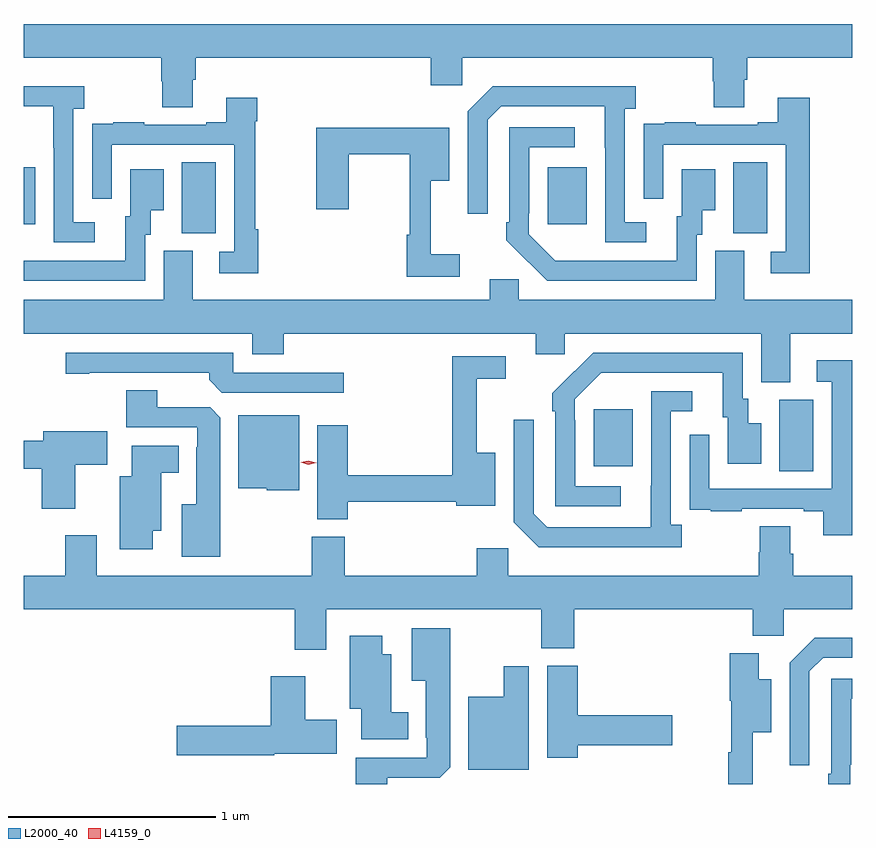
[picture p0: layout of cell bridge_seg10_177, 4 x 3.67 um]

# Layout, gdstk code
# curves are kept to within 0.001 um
import gdstk
lib = gdstk.Library(unit=1e-6, precision=1e-09)
def R(c, l, rs):  # rectangles x0, y0, x1, y1
    for r in rs: c.add(gdstk.rectangle(r[:2], r[2:], *l))
def P(c, l, *ps):  # polygons
    for p in ps: c.add(gdstk.Polygon(p, *l))
L2000_40 = (2000, 40)
L4159_0 = (4159, 0)

bridge_seg10_177 = lib.new_cell('bridge_seg10_177')
R(bridge_seg10_177, L2000_40, [(185.564,1290.328,185.728,1290.672), (184.667,1290.353,184.855,1290.628), (182.678,1291.477,182.842,1291.82), (185.342,1291.477,185.506,1291.82), (181.915,1291.521,181.969,1291.795), (184.445,1291.521,184.633,1291.795)])
P(bridge_seg10_177, L2000_40, [(182.731,1292.218),(182.744,1292.218),(182.744,1292.324),(183.881,1292.324),(183.881,1292.193),(184.032,1292.193),(184.032,1292.324),(185.243,1292.324),(185.243,1292.211),(185.248,1292.211),(185.248,1292.086),(185.395,1292.086),(185.395,1292.218),(185.408,1292.218),(185.408,1292.324),(185.915,1292.324),(185.915,1292.488),(181.915,1292.488),(181.915,1292.324),(182.579,1292.324),(182.579,1292.211),(182.584,1292.211),(182.584,1292.086),(182.731,1292.086)],
  [(182.257,1291.53),(182.154,1291.53),(182.154,1292.078),(182.206,1292.078),(182.206,1292.188),(181.915,1292.188),(181.915,1292.091),(182.057,1292.091),(182.057,1291.891),(182.058,1291.891),(182.058,1291.434),(182.257,1291.434)],
  [(184.921,1291.53),(184.818,1291.53),(184.818,1292.078),(184.87,1292.078),(184.87,1292.188),(184.18,1292.188),(184.059,1292.067),(184.059,1291.572),(184.155,1291.572),(184.155,1292.025),(184.221,1292.091),(184.721,1292.091),(184.722,1291.434),(184.921,1291.434)],
  [(183.047,1291.496),(183.032,1291.496),(183.032,1292.018),(183.041,1292.018),(183.041,1292.131),(182.891,1292.131),(182.891,1292.014),(182.795,1292.014),(182.795,1292.001),(182.495,1292.001),(182.495,1292.014),(182.347,1292.014),(182.347,1292.007),(182.245,1292.007),(182.245,1291.898),(182.244,1291.898),(182.244,1291.644),(182.34,1291.644),(182.34,1291.905),(182.931,1291.905),(182.931,1291.389),(182.859,1291.389),(182.859,1291.284),(183.047,1291.284)],
  [(185.711,1292.131),(185.555,1292.131),(185.555,1292.014),(185.459,1292.014),(185.459,1292.001),(185.159,1292.001),(185.159,1292.014),(185.011,1292.014),(185.011,1292.007),(184.909,1292.007),(184.909,1291.898),(184.908,1291.898),(184.908,1291.644),(185.004,1291.644),(185.004,1291.905),(185.595,1291.905),(185.595,1291.389),(185.523,1291.389),(185.523,1291.284),(185.711,1291.284)],
  [(185.166,1291.47),(185.191,1291.47),(185.191,1291.589),(185.254,1291.589),(185.254,1291.786),(185.093,1291.786),(185.093,1291.56),(185.069,1291.56),(185.069,1291.344),(184.482,1291.345),(184.353,1291.473),(184.353,1291.573),(184.356,1291.573),(184.356,1291.893),(184.576,1291.893),(184.576,1291.989),(184.26,1291.989),(184.26,1291.531),(184.245,1291.531),(184.245,1291.443),(184.442,1291.248),(185.166,1291.248)],
  [(184.021,1291.375),(183.881,1291.375),(183.881,1291.73),(183.97,1291.73),(183.97,1291.987),(183.326,1291.987),(183.326,1291.593),(183.484,1291.593),(183.484,1291.858),(183.778,1291.858),(183.778,1291.469),(183.763,1291.469),(183.763,1291.266),(184.021,1291.266)],
  [(182.502,1291.47),(182.527,1291.47),(182.527,1291.589),(182.59,1291.589),(182.59,1291.786),(182.429,1291.786),(182.429,1291.56),(182.405,1291.56),(182.405,1291.344),(181.921,1291.344),(181.921,1291.345),(181.915,1291.345),(181.915,1291.248),(182.502,1291.248)],
  [(185.617,1290.992),(185.915,1290.992),(185.915,1291.156),(185.395,1291.156),(185.395,1291.392),(185.255,1291.392),(185.255,1291.156),(184.305,1291.156),(184.305,1291.254),(184.166,1291.254),(184.166,1291.156),(182.731,1291.156),(182.731,1291.392),(182.591,1291.392),(182.591,1291.156),(181.915,1291.156),(181.915,1290.992),(183.017,1290.992),(183.017,1290.893),(183.17,1290.893),(183.17,1290.992),(184.388,1290.992),(184.388,1290.894),(184.527,1290.894),(184.527,1290.992),(185.477,1290.992),(185.477,1290.757),(185.617,1290.757)],
  [(184.798,1290.255),(184.578,1290.255),(184.578,1290.575),(184.575,1290.575),(184.575,1290.675),(184.704,1290.804),(185.291,1290.804),(185.291,1290.588),(185.315,1290.588),(185.315,1290.363),(185.476,1290.363),(185.476,1290.559),(185.413,1290.559),(185.413,1290.678),(185.388,1290.678),(185.388,1290.9),(184.664,1290.9),(184.467,1290.705),(184.467,1290.617),(184.482,1290.617),(184.482,1290.159),(184.798,1290.159)],
  [(183.46,1290.804),(182.925,1290.804),(182.925,1290.9),(182.118,1290.9),(182.118,1290.799),(182.23,1290.799),(182.23,1290.804),(182.81,1290.804),(182.81,1290.77),(182.871,1290.708),(183.46,1290.708)],
  [(183.479,1290.18),(184.004,1290.18),(184.004,1290.161),(184.192,1290.161),(184.192,1290.418),(184.103,1290.418),(184.103,1290.774),(184.243,1290.774),(184.243,1290.882),(183.985,1290.882),(183.985,1290.308),(183.479,1290.308),(183.479,1290.55),(183.332,1290.55),(183.332,1290.097),(183.479,1290.097)],
  [(185.915,1290.865),(185.745,1290.865),(185.745,1290.759),(185.817,1290.759),(185.817,1290.243),(185.226,1290.243),(185.226,1290.505),(185.13,1290.505),(185.13,1290.25),(185.131,1290.25),(185.131,1290.141),(185.233,1290.141),(185.233,1290.135),(185.381,1290.135),(185.381,1290.147),(185.681,1290.147),(185.681,1290.135),(185.777,1290.135),(185.777,1290.018),(185.915,1290.018)],
  [(182.863,1290.587),(182.814,1290.636),(182.56,1290.636),(182.56,1290.719),(182.408,1290.719),(182.408,1290.54),(182.751,1290.54),(182.751,1290.443),(182.747,1290.443),(182.747,1290.169),(182.678,1290.169),(182.678,1289.915),(182.863,1289.915)],
  [(185.092,1290.07),(185.04,1290.07),(185.04,1290.618),(185.143,1290.618),(185.143,1290.714),(184.944,1290.714),(184.943,1290.057),(184.443,1290.057),(184.377,1290.123),(184.377,1290.577),(184.281,1290.577),(184.281,1290.081),(184.402,1289.96),(185.092,1289.96)],
  [(183.244,1290.598),(182.951,1290.598),(182.951,1290.245),(183.087,1290.245),(183.087,1290.236),(183.244,1290.236)],
  [(182.164,1290.358),(182.317,1290.358),(182.317,1290.52),(182.009,1290.52),(182.009,1290.476),(181.915,1290.476),(181.915,1290.34),(182.002,1290.34),(182.002,1290.147),(182.164,1290.147)],
  [(182.536,1290.041),(182.578,1290.041),(182.578,1290.32),(182.662,1290.32),(182.662,1290.451),(182.435,1290.451),(182.435,1290.304),(182.378,1290.304),(182.378,1289.952),(182.536,1289.952)],
  [(183.376,1289.66),(184.414,1289.66),(184.414,1289.473),(184.574,1289.473),(184.574,1289.66),(185.435,1289.66),(185.435,1289.534),(185.586,1289.534),(185.586,1289.66),(185.915,1289.66),(185.915,1289.824),(185.63,1289.824),(185.63,1289.93),(185.617,1289.93),(185.617,1290.062),(185.47,1290.062),(185.47,1289.937),(185.465,1289.937),(185.465,1289.824),(184.254,1289.824),(184.254,1289.956),(184.103,1289.956),(184.103,1289.824),(183.464,1289.824),(183.464,1290.012),(183.304,1290.012),(183.304,1289.824),(182.266,1289.824),(182.266,1290.019),(182.114,1290.019),(182.114,1289.824),(181.915,1289.824),(181.915,1289.66),(183.224,1289.66),(183.224,1289.466),(183.376,1289.466)],
  [(183.67,1288.848),(183.924,1288.848),(183.973,1288.897),(183.973,1289.569),(183.788,1289.569),(183.788,1289.315),(183.857,1289.315),(183.857,1289.041),(183.861,1289.041),(183.861,1288.944),(183.518,1288.944),(183.518,1288.817),(183.67,1288.817)],
  [(183.772,1289.164),(183.688,1289.164),(183.688,1289.443),(183.646,1289.443),(183.646,1289.533),(183.488,1289.533),(183.488,1289.18),(183.545,1289.18),(183.545,1289.033),(183.772,1289.033)],
  [(185.709,1289.361),(185.775,1289.427),(185.915,1289.427),(185.915,1289.524),(185.734,1289.524),(185.613,1289.403),(185.613,1288.908),(185.709,1288.908)],
  [(185.435,1289.066),(185.524,1289.066),(185.524,1289.323),(185.464,1289.323),(185.464,1289.449),(185.324,1289.449),(185.324,1289.219),(185.332,1289.219),(185.332,1288.97),(185.317,1288.97),(185.317,1288.817),(185.435,1288.817)],
  [(184.589,1289.003),(185.047,1289.003),(185.047,1289.15),(184.589,1289.15),(184.589,1289.388),(184.442,1289.388),(184.442,1288.944),(184.589,1288.944)],
  [(184.354,1289.386),(184.232,1289.386),(184.232,1289.239),(184.061,1289.239),(184.061,1288.886),(184.354,1288.886)],
  [(183.123,1288.964),(183.427,1288.964),(183.427,1289.127),(183.274,1289.127),(183.274,1289.338),(183.107,1289.338),(183.107,1289.099),(182.652,1289.099),(182.652,1288.957),(183.123,1288.957)],
  [(185.907,1288.909),(185.91,1288.909),(185.91,1289.229),(185.915,1289.229),(185.915,1289.325),(185.814,1289.325),(185.814,1288.867),(185.799,1288.867),(185.799,1288.817),(185.907,1288.817)])
P(bridge_seg10_177, L4159_0, [(183.289,1290.36),(183.251,1290.37),(183.251,1290.37),(183.251,1290.37),(183.289,1290.379),(183.327,1290.369),(183.328,1290.369),(183.327,1290.369)])

lib.write_gds('bridge_seg10_177.gds')
